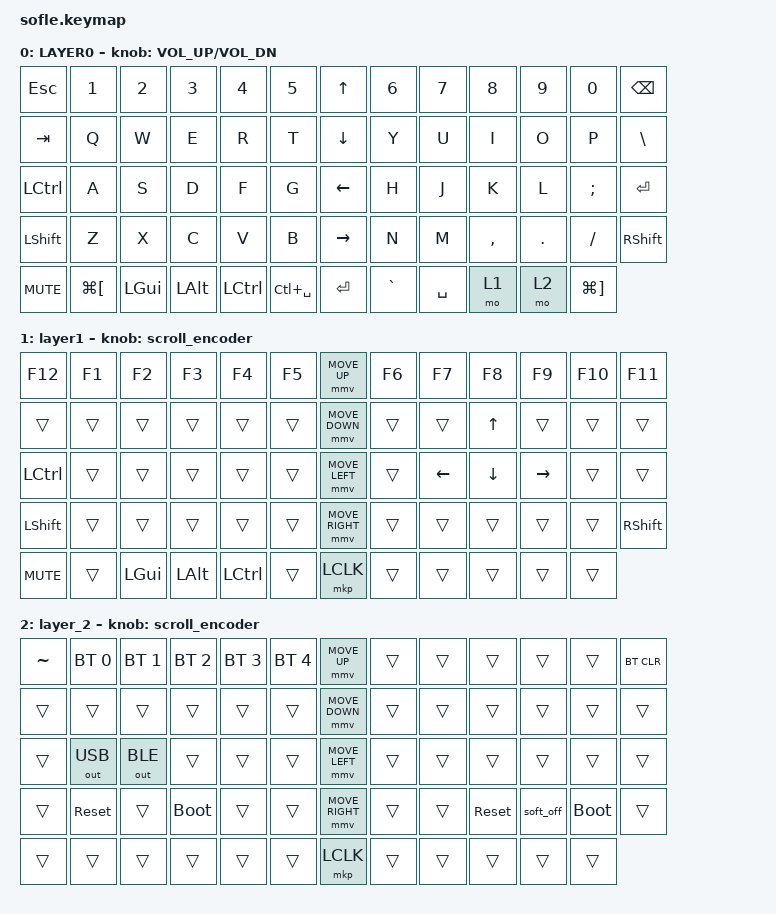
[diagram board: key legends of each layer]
#include <behaviors/mouse_keys.dtsi>
#include <behaviors.dtsi>
#include <dt-bindings/zmk/bt.h>
#include <dt-bindings/zmk/keys.h>
#include <dt-bindings/zmk/mouse.h>
#include <dt-bindings/zmk/outputs.h>

#define ZMK_MOUSE_DEFAULT_MOVE_VAL 1200  // 600
#define ZMK_MOUSE_DEFAULT_SCRL_VAL 20    // 10
#define U_MS_U &mmv MOVE_UP
#define U_MS_D &mmv MOVE_DOWN
#define U_MS_L &mmv MOVE_LEFT
#define U_MS_R &mmv MOVE_RIGHT
#define ZMK_MOUSE_DEFAULT_MOVE_VAL 1200  //  600
#define ZMK_MOUSE_DEFAULT_SCRL_VAL 20    // 10

/ {
    behaviors {
        mmv {
            acceleration-exponent = <1>;      // 1
            time-to-max-speed-ms = <900>;    // 40
            delay-ms = <0>;                   // 0
        };

        msc {
            acceleration-exponent = <1>;      // 0
            time-to-max-speed-ms = <400>;      // 500
            delay-ms = <0>;                   //   10
        };
    };

    scroll_encoder: scroll_encoder {
        compatible = "zmk,behavior-sensor-rotate";
        #sensor-binding-cells = <0>;
        bindings = <&msc SCRL_DOWN>, <&msc SCRL_UP>;

        tap-ms = <30>;
    };

    combos {
        compatible = "zmk,combos";

        lp {
            bindings = <&kp LEFT_PARENTHESIS>;
            key-positions = <30 29>;
        };

        lb {
            bindings = <&kp LBKT>;
            key-positions = <16 17>;
        };

        lbr {
            bindings = <&kp LBRC>;
            key-positions = <42 43>;
        };

        rp {
            bindings = <&kp RPAR>;
            key-positions = <34 35>;
        };

        rb {
            bindings = <&kp RBKT>;
            key-positions = <21 22>;
        };

        rbr {
            bindings = <&kp RBRC>;
            key-positions = <47 48>;
        };

        eq {
            bindings = <&kp EQUAL>;
            key-positions = <28 29>;
        };

        plus {
            bindings = <&kp PLUS>;
            key-positions = <15 16>;
        };

        minus {
            bindings = <&kp MINUS>;
            key-positions = <35 36>;
        };

        underscore {
            bindings = <&kp UNDER>;
            key-positions = <22 23>;
        };

        quote {
            bindings = <&kp SINGLE_QUOTE>;
            key-positions = <41 42>;
        };

        dquote {
            bindings = <&kp DOUBLE_QUOTES>;
            key-positions = <48 49>;
        };
    };

    keymap {
        compatible = "zmk,keymap";

        layer0 {
            bindings = <
&kp ESC     &kp N1                &kp N2        &kp N3        &kp N4     &kp N5           &kp UP_ARROW     &kp N6     &kp N7     &kp N8     &kp N9   &kp N0                 &kp BACKSPACE
&kp TAB     &kp Q                 &kp W         &kp E         &kp R      &kp T            &kp DOWN_ARROW   &kp Y      &kp U      &kp I      &kp O    &kp P                  &kp BSLH
&kp LCTRL   &kp A                 &kp S         &kp D         &kp F      &kp G            &kp LEFT_ARROW   &kp H      &kp J      &kp K      &kp L    &kp SEMI               &kp ENTER
&kp LSHFT   &kp Z                 &kp X         &kp C         &kp V      &kp B            &kp RIGHT_ARROW  &kp N      &kp M      &kp COMMA  &kp DOT  &kp FSLH               &kp RIGHT_SHIFT
&kp C_MUTE  &kp LG(LEFT_BRACKET)  &kp LEFT_GUI  &kp LEFT_ALT  &kp LCTRL  &kp LC(SPACE)    &kp ENTER        &kp GRAVE  &kp SPACE  &mo 1      &mo 2    &kp LG(RIGHT_BRACKET)
            >;

            sensor-bindings = <&inc_dec_kp C_VOLUME_UP C_VOL_DN>;
            display-name = "LAYER0";
        };

        layer_1 {
            bindings = <
&kp F12         &kp F1  &kp F2        &kp F3        &kp F4     &kp F5    &mmv MOVE_UP     &kp F6  &kp F7    &kp F8    &kp F9     &kp F10  &kp F11
&trans          &trans  &trans        &trans        &trans     &trans    &mmv MOVE_DOWN   &trans  &trans    &kp UP    &trans     &trans   &trans
&kp LCTRL       &trans  &trans        &trans        &trans     &trans    &mmv MOVE_LEFT   &trans  &kp LEFT  &kp DOWN  &kp RIGHT  &trans   &trans
&kp LEFT_SHIFT  &trans  &trans        &trans        &trans     &trans    &mmv MOVE_RIGHT  &trans  &trans    &trans    &trans     &trans   &kp RIGHT_SHIFT
&kp C_MUTE      &trans  &kp LEFT_GUI  &kp LEFT_ALT  &kp LCTRL  &trans    &mkp LCLK        &trans  &trans    &trans    &trans     &trans
            >;

            display-name = "layer1";
            sensor-bindings = <&scroll_encoder>;
        };

        layer_2 {
            bindings = <
&kp TILDE  &bt BT_SEL 0  &bt BT_SEL 1  &bt BT_SEL 2  &bt BT_SEL 3  &bt BT_SEL 4    &mmv MOVE_UP     &trans  &trans  &trans      &trans     &trans       &bt BT_CLR
&trans     &trans        &trans        &trans        &trans        &trans          &mmv MOVE_DOWN   &trans  &trans  &trans      &trans     &trans       &trans
&trans     &out OUT_USB  &out OUT_BLE  &trans        &trans        &trans          &mmv MOVE_LEFT   &trans  &trans  &trans      &trans     &trans       &trans
&trans     &sys_reset    &trans        &bootloader   &trans        &trans          &mmv MOVE_RIGHT  &trans  &trans  &sys_reset  &soft_off  &bootloader  &trans
&trans     &trans        &trans        &trans        &trans        &trans          &mkp LCLK        &trans  &trans  &trans      &trans     &trans
            >;

            sensor-bindings = <&scroll_encoder>;
        };
    };
};
